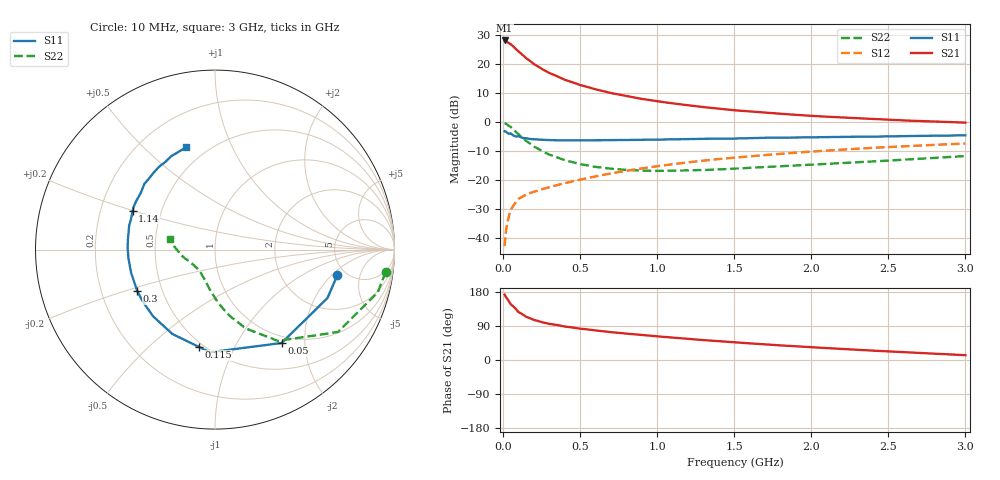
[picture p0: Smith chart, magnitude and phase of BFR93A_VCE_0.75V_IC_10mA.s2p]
! Infineon Technologies  Discrete & RF Semiconductors
! BFR93A
! VCE = 0.75 V,  IC =  10 mA
! Common Emitter S-Parameters:  Nov 2015
# GHz  S  MA  R  50
!  f  S11  S21  S12  S22
! GHz  MAG  ANG  MAG  ANG  MAG  ANG  MAG  ANG
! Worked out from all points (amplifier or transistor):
!   180 points, 10 MHz to 3 GHz, reference 50 ohm
!   highest |S21| = 28.2 dB at 10 MHz (marker M1)
!   |S21| within 3 dB of that: start of sweep to 83.93 MHz
!   unconditionally stable (mu >= 1): 496.5 MHz to end of sweep
!   at 160 MHz: K = 0.53, MSG = 23.3 dB, |S12| = -24.8 dB
!   at 1.22 GHz: K = 1.13, MAG = 7.6 dB, |S12| = -13.8 dB
!   at 3 GHz: K = 1.04, MAG = 2.4 dB, |S12| = -7.4 dB
!   S11 on the Smith chart (normalised r, x): 10 MHz: 4.22, -2.35; 50 MHz: 0.89, -1.56; 115 MHz: 0.47, -0.73; 300 MHz: 0.36, -0.22; 1.14 GHz: 0.34, +0.20; 3 GHz: 0.39, +0.68
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0.01  0.6962 -11.9  25.73 172.5  0.0072 84.8  0.9585 -7.5
0.02  0.6823 -23.3  25.14 165.4  0.0139 78.8  0.9378 -14.7
0.05  0.6391 -54.5  22.21 146.9  0.0307 66.3  0.8249 -33.8
0.1  0.5729 -92.9  16.73 126.3  0.0471 54.0  0.6182 -55.4
0.115  0.5491 -99.6  15.46 123.2  0.0497 52.5  0.5719 -58.6
0.15  0.5265 -116.9  12.71 113.8  0.056 49.5  0.4731 -68.5
0.2  0.5069 -132.9  10.1 105.8  0.0628 48.9  0.3801 -77.3
0.24  0.4966 -141.8  8.657 101.2  0.0678 49.3  0.3301 -82.5
0.26  0.4942 -145.7  8.053 99.0  0.0702 49.6  0.3093 -84.9
0.3  0.4908 -152.1  7.057 95.3  0.0751 50.5  0.2749 -89.3
0.4  0.4849 -164.6  5.389 88.3  0.0882 52.9  0.2199 -98.3
0.5  0.4845 -173.9  4.377 82.7  0.1014 54.6  0.1884 -105.2
0.52  0.4844 -175.3  4.237 81.9  0.1042 54.8  0.1842 -106.4
0.6  0.4867 179.3  3.686 77.9  0.1155 55.7  0.1685 -112.0
0.7  0.4884 173.8  3.181 73.5  0.1299 56.3  0.1569 -117.9
0.9  0.4969 164.1  2.516 66.1  0.1586 56.4  0.1455 -129.2
1.02  0.4992 159.1  2.254 61.8  0.176 55.9  0.1438 -134.7
1.14  0.5071 154.7  2.045 57.8  0.1932 55.1  0.1455 -140.3
1.52  0.5217 142.2  1.588 46.2  0.2459 51.6  0.1584 -155.0
2.02  0.5478 128.8  1.275 33.3  0.312 45.9  0.1855 -169.0
2.52  0.5692 116.7  1.095 22.2  0.3737 39.1  0.2182 178.4
3  0.5919 105.9  0.98 12.7  0.427 32.2  0.2595 166.5
